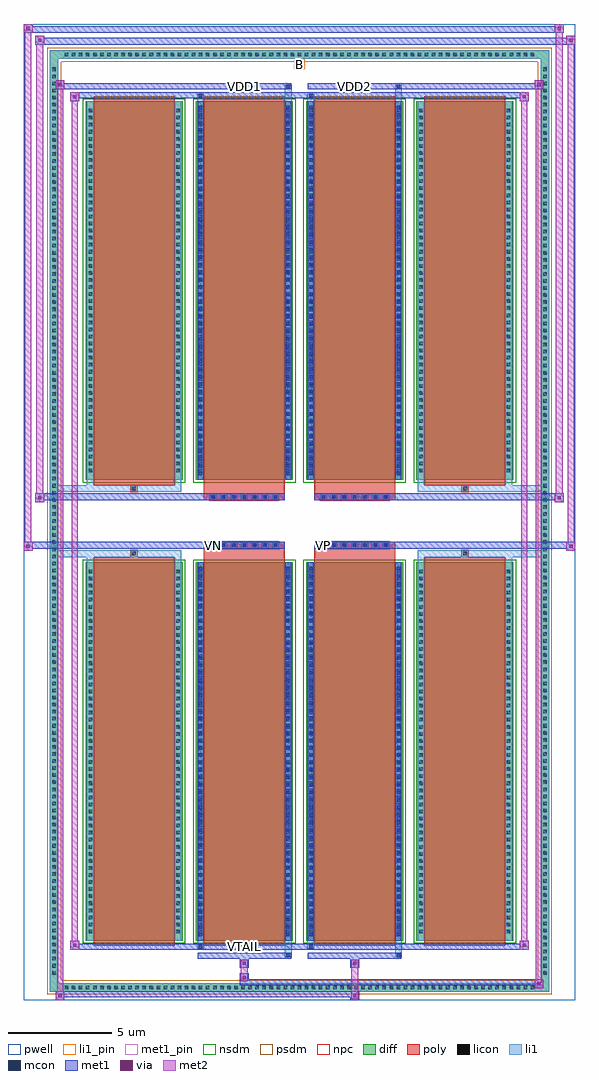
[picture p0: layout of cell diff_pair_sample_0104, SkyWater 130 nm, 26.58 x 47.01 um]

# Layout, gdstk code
import gdstk
lib = gdstk.Library(unit=1e-6, precision=5e-09)
def R(c, l, rs):  # rectangles x0, y0, x1, y1
    for r in rs: c.add(gdstk.rectangle(r[:2], r[2:], *l))
def A(c, l, x, y, w, h, nx, ny, dx, dy):  # array of equal rectangles
    R(c, l, [(x+i*dx, y+j*dy, x+i*dx+w, y+j*dy+h) for i in range(nx) for j in range(ny)])
def P(c, l, *ps):  # polygons
    for p in ps: c.add(gdstk.Polygon(p, *l))
pwell = (64, 44)
diff = (65, 20)
poly = (66, 20)
licon = (66, 44)
li1_pin = (67, 16)
li1 = (67, 20)
mcon = (67, 44)
met1_pin = (68, 16)
met1 = (68, 20)
via = (68, 44)
met2 = (69, 20)
nsdm = (93, 44)
psdm = (94, 20)
npc = (95, 20)

diff_pair_sample_0104 = lib.new_cell('diff_pair_sample_0104')
R(diff_pair_sample_0104, pwell, [(-13.29,-23.07,13.29,23.94), (-10.61,-21.26,-0.01,-0.8), (0.01,-21.26,10.61,-0.8), (-10.61,0.8,-0.01,21.26), (0.01,0.8,10.61,21.26)])
A(diff_pair_sample_0104, diff, -11.425, -22.67, 0.41, 0.41, 67, 2, 0.34, 44.93)
A(diff_pair_sample_0104, diff, -12.02, -21.965, 0.41, 0.41, 1, 129, 0, 0.34)
A(diff_pair_sample_0104, diff, 11.61, -21.965, 0.41, 0.41, 1, 129, 0, 0.34)
A(diff_pair_sample_0104, diff, -10.3, -20.215, 4.67, 18.23, 4, 2, 5.31, 22.2)
R(diff_pair_sample_0104, diff, [(-11.425,-22.67,11.425,-22.26), (-12.02,-21.965,-11.61,21.965), (11.61,-21.965,12.02,21.965), (-11.425,22.26,11.425,22.67)])
P(diff_pair_sample_0104, diff, [(12.02,22.67),(-12.02,22.67),(-12.02,-22.26),(-11.61,-22.26),(-11.61,22.26),(11.61,22.26),(11.61,-22.26),(-11.61,-22.26),(-12.02,-22.26),(-12.02,-22.67),(12.02,-22.67)])
A(diff_pair_sample_0104, poly, -9.91, -20.465, 3.89, 18.73, 4, 2, 5.31, 22.2)
A(diff_pair_sample_0104, poly, -4.32, -1.33, 0.33, 0.33, 7, 2, 0.5, 2.33)
A(diff_pair_sample_0104, poly, 0.99, -1.33, 0.33, 0.33, 7, 2, 0.5, 2.33)
R(diff_pair_sample_0104, poly, [(-8.13,-1.735,-7.8,-1.405), (-8.13,-1.735,-7.8,-1.405), (-4.6,-1.735,-0.71,-1.33), (0.71,-1.735,4.6,-1.33), (7.8,-1.735,8.13,-1.405), (7.8,-1.735,8.13,-1.405), (-4.6,-1.33,-0.71,-1), (0.71,-1.33,4.6,-1), (-4.6,1,-0.71,1.33), (0.71,1,4.6,1.33), (-4.6,1.33,-0.71,1.735), (0.71,1.33,4.6,1.735), (-8.13,1.405,-7.8,1.735), (-8.13,1.405,-7.8,1.735), (7.8,1.405,8.13,1.735), (7.8,1.405,8.13,1.735)])
A(diff_pair_sample_0104, licon, -11.305, -22.55, 0.17, 0.17, 67, 2, 0.34, 44.93)
A(diff_pair_sample_0104, licon, -11.9, -21.845, 0.17, 0.17, 1, 129, 0, 0.34)
A(diff_pair_sample_0104, licon, 11.73, -21.845, 0.17, 0.17, 1, 129, 0, 0.34)
A(diff_pair_sample_0104, licon, -10.16, -19.855, 0.17, 0.17, 1, 52, 0, 0.34)
A(diff_pair_sample_0104, licon, -5.94, -19.855, 0.17, 0.17, 1, 52, 0, 0.34)
A(diff_pair_sample_0104, licon, -4.85, -19.855, 0.17, 0.17, 1, 52, 0, 0.34)
A(diff_pair_sample_0104, licon, -0.63, -19.855, 0.17, 0.17, 1, 52, 0, 0.34)
A(diff_pair_sample_0104, licon, 0.46, -19.855, 0.17, 0.17, 1, 52, 0, 0.34)
A(diff_pair_sample_0104, licon, 4.68, -19.855, 0.17, 0.17, 1, 52, 0, 0.34)
A(diff_pair_sample_0104, licon, 5.77, -19.855, 0.17, 0.17, 1, 52, 0, 0.34)
A(diff_pair_sample_0104, licon, 9.99, -19.855, 0.17, 0.17, 1, 52, 0, 0.34)
A(diff_pair_sample_0104, licon, -4.24, -1.25, 0.17, 0.17, 7, 2, 0.5, 2.33)
A(diff_pair_sample_0104, licon, 1.07, -1.25, 0.17, 0.17, 7, 2, 0.5, 2.33)
A(diff_pair_sample_0104, licon, -10.16, 2.345, 0.17, 0.17, 1, 52, 0, 0.34)
A(diff_pair_sample_0104, licon, -5.94, 2.345, 0.17, 0.17, 1, 52, 0, 0.34)
A(diff_pair_sample_0104, licon, -4.85, 2.345, 0.17, 0.17, 1, 52, 0, 0.34)
A(diff_pair_sample_0104, licon, -0.63, 2.345, 0.17, 0.17, 1, 52, 0, 0.34)
A(diff_pair_sample_0104, licon, 0.46, 2.345, 0.17, 0.17, 1, 52, 0, 0.34)
A(diff_pair_sample_0104, licon, 4.68, 2.345, 0.17, 0.17, 1, 52, 0, 0.34)
A(diff_pair_sample_0104, licon, 5.77, 2.345, 0.17, 0.17, 1, 52, 0, 0.34)
A(diff_pair_sample_0104, licon, 9.99, 2.345, 0.17, 0.17, 1, 52, 0, 0.34)
R(diff_pair_sample_0104, licon, [(-8.05,-1.655,-7.88,-1.485), (7.88,-1.655,8.05,-1.485), (-8.05,1.485,-7.88,1.655), (7.88,1.485,8.05,1.655)])
R(diff_pair_sample_0104, li1_pin, [(-0.25,21.76,0.25,22.26)])
A(diff_pair_sample_0104, li1, -11.385, -22.63, 0.33, 0.33, 67, 2, 0.34, 44.93)
A(diff_pair_sample_0104, li1, -11.98, -21.925, 0.33, 0.33, 1, 129, 0, 0.34)
A(diff_pair_sample_0104, li1, 11.65, -21.925, 0.33, 0.33, 1, 129, 0, 0.34)
A(diff_pair_sample_0104, li1, -4.85, -20.005, 0.17, 0.17, 1, 50, 0, 0.36)
A(diff_pair_sample_0104, li1, -0.63, -20.005, 0.17, 0.17, 1, 50, 0, 0.36)
A(diff_pair_sample_0104, li1, 0.46, -20.005, 0.17, 0.17, 1, 50, 0, 0.36)
A(diff_pair_sample_0104, li1, 4.68, -20.005, 0.17, 0.17, 1, 50, 0, 0.36)
A(diff_pair_sample_0104, li1, -10.24, -19.935, 0.33, 0.33, 1, 52, 0, 0.34)
A(diff_pair_sample_0104, li1, -6.02, -19.935, 0.33, 0.33, 1, 52, 0, 0.34)
A(diff_pair_sample_0104, li1, -4.93, -19.935, 0.33, 0.33, 1, 52, 0, 0.34)
A(diff_pair_sample_0104, li1, -0.71, -19.935, 0.33, 0.33, 1, 52, 0, 0.34)
A(diff_pair_sample_0104, li1, 0.38, -19.935, 0.33, 0.33, 1, 52, 0, 0.34)
A(diff_pair_sample_0104, li1, 4.6, -19.935, 0.33, 0.33, 1, 52, 0, 0.34)
A(diff_pair_sample_0104, li1, 5.69, -19.935, 0.33, 0.33, 1, 52, 0, 0.34)
A(diff_pair_sample_0104, li1, 9.91, -19.935, 0.33, 0.33, 1, 52, 0, 0.34)
A(diff_pair_sample_0104, li1, -4.32, -1.33, 0.33, 0.33, 7, 2, 0.5, 2.33)
A(diff_pair_sample_0104, li1, 0.99, -1.33, 0.33, 0.33, 7, 2, 0.5, 2.33)
A(diff_pair_sample_0104, li1, -4.85, 2.195, 0.17, 0.17, 1, 50, 0, 0.36)
A(diff_pair_sample_0104, li1, -0.63, 2.195, 0.17, 0.17, 1, 50, 0, 0.36)
A(diff_pair_sample_0104, li1, 0.46, 2.195, 0.17, 0.17, 1, 50, 0, 0.36)
A(diff_pair_sample_0104, li1, 4.68, 2.195, 0.17, 0.17, 1, 50, 0, 0.36)
A(diff_pair_sample_0104, li1, -10.24, 2.265, 0.33, 0.33, 1, 52, 0, 0.34)
A(diff_pair_sample_0104, li1, -6.02, 2.265, 0.33, 0.33, 1, 52, 0, 0.34)
A(diff_pair_sample_0104, li1, -4.93, 2.265, 0.33, 0.33, 1, 52, 0, 0.34)
A(diff_pair_sample_0104, li1, -0.71, 2.265, 0.33, 0.33, 1, 52, 0, 0.34)
A(diff_pair_sample_0104, li1, 0.38, 2.265, 0.33, 0.33, 1, 52, 0, 0.34)
A(diff_pair_sample_0104, li1, 4.6, 2.265, 0.33, 0.33, 1, 52, 0, 0.34)
A(diff_pair_sample_0104, li1, 5.69, 2.265, 0.33, 0.33, 1, 52, 0, 0.34)
A(diff_pair_sample_0104, li1, 9.91, 2.265, 0.33, 0.33, 1, 52, 0, 0.34)
R(diff_pair_sample_0104, li1, [(-12.02,-22.67,-11.61,-22.26), (-12.02,-22.67,-11.61,-22.26), (-11.61,-22.67,11.61,-22.26), (11.61,-22.67,12.02,-22.26), (11.61,-22.67,12.02,-22.26), (-12.02,-22.26,-11.61,22.26), (11.61,-22.26,12.02,22.26), (-0.71,-21.02,-0.38,-20.215), (-0.63,-21.02,-0.46,-20.85), (4.6,-21.02,4.93,-20.215), (4.68,-21.02,4.85,-20.85), (-4.93,-20.59,-4.6,-20.215), (-4.85,-20.59,-4.68,-20.42), (0.38,-20.59,0.71,-20.215), (0.46,-20.59,0.63,-20.42), (-10.24,-20.215,-9.91,-1.985), (-6.02,-20.215,-5.69,-1.985), (-4.93,-20.215,-4.6,-1.985), (-0.71,-20.215,-0.38,-1.985), (0.38,-20.215,0.71,-1.985), (4.6,-20.215,4.93,-1.985), (5.69,-20.215,6.02,-1.985), (9.91,-20.215,10.24,-1.985), (-4.85,-20.005,-4.68,-2.195), (-0.63,-20.005,-0.46,-2.195), (0.46,-20.005,0.63,-2.195), (4.68,-20.005,4.85,-2.195), (-10.24,-1.985,-9.91,-1.405), (-6.02,-1.985,-5.69,-1.405), (5.69,-1.985,6.02,-1.405), (9.91,-1.985,10.24,-1.405), (-12.02,-1.735,-8.13,-1.405), (-10.24,-1.735,-8.13,-1.405), (-8.13,-1.735,-7.8,-1.405), (-7.8,-1.735,-5.69,-1.405), (5.69,-1.735,7.8,-1.405), (7.8,-1.735,8.13,-1.405), (7.8,-1.735,12.02,-1.405), (8.13,-1.735,10.24,-1.405), (-12.02,1.405,-8.13,1.735), (-10.24,1.405,-8.13,1.735), (-10.24,1.405,-9.91,1.985), (-8.13,1.405,-7.8,1.735), (-7.8,1.405,-5.69,1.735), (-6.02,1.405,-5.69,1.985), (5.69,1.405,7.8,1.735), (5.69,1.405,6.02,1.985), (7.8,1.405,8.13,1.735), (7.8,1.405,12.02,1.735), (8.13,1.405,10.24,1.735), (9.91,1.405,10.24,1.985), (-10.24,1.985,-9.91,20.215), (-6.02,1.985,-5.69,20.215), (-4.93,1.985,-4.6,20.215), (-0.71,1.985,-0.38,20.215), (0.38,1.985,0.71,20.215), (4.6,1.985,4.93,20.215), (5.69,1.985,6.02,20.215), (9.91,1.985,10.24,20.215), (-4.85,2.195,-4.68,20.005), (-0.63,2.195,-0.46,20.005), (0.46,2.195,0.63,20.005), (4.68,2.195,4.85,20.005), (-4.93,20.215,-4.6,20.59), (-0.71,20.215,-0.38,21.02), (0.38,20.215,0.71,20.59), (4.6,20.215,4.93,21.02), (-4.85,20.42,-4.68,20.59), (0.46,20.42,0.63,20.59), (-0.63,20.85,-0.46,21.02), (4.68,20.85,4.85,21.02), (-12.02,22.26,-11.61,22.67), (-12.02,22.26,-11.61,22.67), (-11.61,22.26,11.61,22.67), (11.61,22.26,12.02,22.67), (11.61,22.26,12.02,22.67)])
A(diff_pair_sample_0104, mcon, -4.85, -20.005, 0.17, 0.17, 1, 50, 0, 0.36)
A(diff_pair_sample_0104, mcon, -0.63, -20.005, 0.17, 0.17, 1, 50, 0, 0.36)
A(diff_pair_sample_0104, mcon, 0.46, -20.005, 0.17, 0.17, 1, 50, 0, 0.36)
A(diff_pair_sample_0104, mcon, 4.68, -20.005, 0.17, 0.17, 1, 50, 0, 0.36)
A(diff_pair_sample_0104, mcon, -4.24, -1.25, 0.17, 0.17, 7, 2, 0.5, 2.33)
A(diff_pair_sample_0104, mcon, 1.07, -1.25, 0.17, 0.17, 7, 2, 0.5, 2.33)
A(diff_pair_sample_0104, mcon, -4.85, 2.195, 0.17, 0.17, 1, 50, 0, 0.36)
A(diff_pair_sample_0104, mcon, -0.63, 2.195, 0.17, 0.17, 1, 50, 0, 0.36)
A(diff_pair_sample_0104, mcon, 0.46, 2.195, 0.17, 0.17, 1, 50, 0, 0.36)
A(diff_pair_sample_0104, mcon, 4.68, 2.195, 0.17, 0.17, 1, 50, 0, 0.36)
R(diff_pair_sample_0104, mcon, [(-0.63,-21.02,-0.46,-20.85), (4.68,-21.02,4.85,-20.85), (-4.85,-20.59,-4.68,-20.42), (0.46,-20.59,0.63,-20.42), (-4.85,20.42,-4.68,20.59), (0.46,20.42,0.63,20.59), (-0.63,20.85,-0.46,21.02), (4.68,20.85,4.85,21.02)])
R(diff_pair_sample_0104, met1_pin, [(-2.79,-20.63,-2.52,-20.36), (-4.29,-1.29,-4.02,-1.02), (1.02,-1.29,1.29,-1.02), (-2.79,20.81,-2.52,21.08), (2.52,20.81,2.79,21.08)])
A(diff_pair_sample_0104, met1, -4.91, -20.065, 0.29, 0.29, 1, 50, 0, 0.36)
A(diff_pair_sample_0104, met1, -0.69, -20.065, 0.29, 0.29, 1, 50, 0, 0.36)
A(diff_pair_sample_0104, met1, 0.4, -20.065, 0.29, 0.29, 1, 50, 0, 0.36)
A(diff_pair_sample_0104, met1, 4.62, -20.065, 0.29, 0.29, 1, 50, 0, 0.36)
A(diff_pair_sample_0104, met1, -4.3, -1.31, 0.29, 0.29, 7, 2, 0.5, 2.33)
A(diff_pair_sample_0104, met1, 1.01, -1.31, 0.29, 0.29, 7, 2, 0.5, 2.33)
A(diff_pair_sample_0104, met1, -4.91, 2.135, 0.29, 0.29, 1, 50, 0, 0.36)
A(diff_pair_sample_0104, met1, -0.69, 2.135, 0.29, 0.29, 1, 50, 0, 0.36)
A(diff_pair_sample_0104, met1, 0.4, 2.135, 0.29, 0.29, 1, 50, 0, 0.36)
A(diff_pair_sample_0104, met1, 4.62, 2.135, 0.29, 0.29, 1, 50, 0, 0.36)
R(diff_pair_sample_0104, met1, [(-11.75,-23.07,-11.32,-22.64), (2.44,-23.07,2.87,-22.64), (-11.75,-22.93,2.87,-22.64), (11.32,-22.5,11.75,-22.07), (-2.87,-22.36,11.75,-22.07), (-2.87,-22.22,-2.44,-21.79), (-2.87,-21.51,-2.44,-21.08), (2.44,-21.51,2.87,-21.08), (-4.91,-21.08,-0.4,-20.79), (-0.69,-21.08,-0.4,-20.79), (0.4,-21.08,4.91,-20.79), (4.62,-21.08,4.91,-20.79), (-11.04,-20.65,-10.61,-20.22), (-11.04,-20.65,-4.91,-20.36), (-4.91,-20.65,-4.62,-20.36), (-4.91,-20.65,-0.4,-20.36), (-0.4,-20.65,0.4,-20.36), (0.4,-20.65,0.69,-20.36), (0.4,-20.65,4.91,-20.36), (4.91,-20.65,11.04,-20.36), (10.61,-20.65,11.04,-20.22), (-4.91,-20.215,-4.62,-1.985), (-0.69,-20.215,-0.4,-1.985), (0.4,-20.215,0.69,-1.985), (4.62,-20.215,4.91,-1.985), (-13.29,-1.43,-12.86,-1), (12.86,-1.43,13.29,-1), (-13.29,-1.33,-0.71,-1), (-4.6,-1.33,-0.71,-1), (0.71,-1.33,4.6,-1), (0.71,-1.33,13.29,-1), (-12.72,0.9,-12.29,1.33), (12.29,0.9,12.72,1.33), (-12.72,1,-4.6,1.33), (-4.6,1,-0.71,1.33), (0.71,1,4.6,1.33), (4.6,1,12.72,1.33), (-4.91,1.985,-4.62,20.215), (-0.69,1.985,-0.4,20.215), (0.4,1.985,0.69,20.215), (4.62,1.985,4.91,20.215), (-11.04,20.22,-10.61,20.65), (10.61,20.22,11.04,20.65), (-11.04,20.36,-4.91,20.65), (-4.91,20.36,-4.62,20.65), (-4.91,20.36,-0.4,20.65), (-0.4,20.36,0.4,20.65), (0.4,20.36,0.69,20.65), (0.4,20.36,4.91,20.65), (4.91,20.36,11.04,20.65), (-11.75,20.79,-11.32,21.22), (-11.75,20.79,-4.91,21.08), (-4.91,20.79,-0.4,21.08), (-0.69,20.79,-0.4,21.08), (0.4,20.79,4.91,21.08), (4.62,20.79,4.91,21.08), (4.91,20.79,11.75,21.08), (11.32,20.79,11.75,21.22), (-12.72,22.94,-12.29,23.37), (-12.72,22.94,-10.61,23.27), (-10.61,22.94,10.61,23.27), (10.61,22.94,13.29,23.27), (12.86,22.94,13.29,23.37), (-13.29,23.51,-12.86,23.94), (-13.29,23.51,-10.61,23.84), (-10.61,23.51,10.61,23.84), (10.61,23.51,12.72,23.84), (12.29,23.51,12.72,23.94)])
R(diff_pair_sample_0104, via, [(-11.61,-22.93,-11.46,-22.78), (2.58,-22.93,2.73,-22.78), (11.46,-22.36,11.61,-22.21), (-2.73,-22.08,-2.58,-21.93), (-2.73,-21.37,-2.58,-21.22), (2.58,-21.37,2.73,-21.22), (-10.9,-20.51,-10.75,-20.36), (10.75,-20.51,10.9,-20.36), (-13.15,-1.29,-13,-1.14), (13,-1.29,13.15,-1.14), (-12.58,1.04,-12.43,1.19), (12.43,1.04,12.58,1.19), (-10.9,20.36,-10.75,20.51), (10.75,20.36,10.9,20.51), (-11.61,20.93,-11.46,21.08), (11.46,20.93,11.61,21.08), (-12.58,23.08,-12.43,23.23), (13,23.08,13.15,23.23), (-13.15,23.65,-13,23.8), (12.43,23.65,12.58,23.8)])
R(diff_pair_sample_0104, met2, [(-11.75,-23.07,-11.32,-22.64), (-11.68,-23.07,-11.39,21.22), (-11.39,-23.07,-11.32,-22.64), (-11.7,-23.02,-11.37,-22.69), (2.49,-23.02,2.82,-22.69), (2.49,-22.69,2.82,-21.46), (11.32,-22.5,11.75,-22.07), (11.39,-22.5,11.68,21.22), (11.68,-22.5,11.75,-22.07), (11.37,-22.45,11.7,-22.12), (-2.82,-22.17,-2.49,-21.84), (-2.82,-21.84,-2.49,-21.46), (-2.82,-21.46,-2.49,-21.13), (2.49,-21.46,2.82,-21.13), (-11.04,-20.65,-10.61,-20.22), (-10.97,-20.65,-10.68,20.65), (-10.68,-20.65,-10.61,-20.22), (10.61,-20.65,11.04,-20.22), (10.68,-20.65,10.97,20.65), (10.97,-20.65,11.04,-20.22), (-10.99,-20.6,-10.66,-20.27), (10.66,-20.6,10.99,-20.27), (-13.29,-1.43,-12.86,-1), (-13.24,-1.43,-12.91,23.94), (-12.91,-1.43,-12.86,-1), (12.86,-1.43,13.29,-1), (12.91,-1.43,13.24,23.37), (13.24,-1.43,13.29,-1), (-13.24,-1.38,-12.91,-1.05), (12.91,-1.38,13.24,-1.05), (-12.72,0.9,-12.29,1.33), (-12.67,0.9,-12.34,23.37), (-12.34,0.9,-12.29,1.33), (12.29,0.9,12.72,1.33), (12.34,0.9,12.67,23.94), (12.67,0.9,12.72,1.33), (-12.67,0.95,-12.34,1.28), (12.34,0.95,12.67,1.28), (-11.04,20.22,-10.61,20.65), (-10.68,20.22,-10.61,20.65), (10.61,20.22,11.04,20.65), (10.97,20.22,11.04,20.65), (-10.99,20.27,-10.66,20.6), (10.66,20.27,10.99,20.6), (-11.75,20.79,-11.32,21.22), (-11.39,20.79,-11.32,21.22), (11.32,20.79,11.75,21.22), (11.68,20.79,11.75,21.22), (-11.7,20.84,-11.37,21.17), (11.37,20.84,11.7,21.17), (-12.72,22.94,-12.29,23.37), (-12.34,22.94,-12.29,23.37), (12.86,22.94,13.29,23.37), (13.24,22.94,13.29,23.37), (-12.67,22.99,-12.34,23.32), (12.91,22.99,13.24,23.32), (-13.29,23.51,-12.86,23.94), (-12.91,23.51,-12.86,23.94), (12.29,23.51,12.72,23.94), (12.67,23.51,12.72,23.94), (-13.24,23.56,-12.91,23.89), (12.34,23.56,12.67,23.89)])
A(diff_pair_sample_0104, nsdm, -10.43, -20.345, 4.93, 18.49, 4, 2, 5.31, 22.2)
P(diff_pair_sample_0104, psdm, [(12.15,22.8),(-12.15,22.8),(-12.15,-22.13),(-11.48,-22.13),(-11.48,22.13),(11.48,22.13),(11.48,-22.13),(-11.48,-22.13),(-12.15,-22.13),(-12.15,-22.8),(12.15,-22.8)])
A(diff_pair_sample_0104, npc, -4.34, -1.35, 0.37, 0.37, 7, 2, 0.5, 2.33)
A(diff_pair_sample_0104, npc, 0.97, -1.35, 0.37, 0.37, 7, 2, 0.5, 2.33)
R(diff_pair_sample_0104, npc, [(-8.15,-1.755,-7.78,-1.385), (7.78,-1.755,8.15,-1.385), (-4.34,-1.35,-3.47,-0.98), (-4.34,-1.35,-3.47,-0.98), (-3.84,-1.35,-2.97,-0.98), (-3.84,-1.35,-2.97,-0.98), (-3.34,-1.35,-2.47,-0.98), (-3.34,-1.35,-2.47,-0.98), (-2.84,-1.35,-1.97,-0.98), (-2.84,-1.35,-1.97,-0.98), (-2.34,-1.35,-1.47,-0.98), (-2.34,-1.35,-1.47,-0.98), (-1.84,-1.35,-0.97,-0.98), (-1.84,-1.35,-0.97,-0.98), (0.97,-1.35,1.84,-0.98), (0.97,-1.35,1.84,-0.98), (1.47,-1.35,2.34,-0.98), (1.47,-1.35,2.34,-0.98), (1.97,-1.35,2.84,-0.98), (1.97,-1.35,2.84,-0.98), (2.47,-1.35,3.34,-0.98), (2.47,-1.35,3.34,-0.98), (2.97,-1.35,3.84,-0.98), (2.97,-1.35,3.84,-0.98), (3.47,-1.35,4.34,-0.98), (3.47,-1.35,4.34,-0.98), (-4.34,0.98,-3.47,1.35), (-4.34,0.98,-3.47,1.35), (-3.84,0.98,-2.97,1.35), (-3.84,0.98,-2.97,1.35), (-3.34,0.98,-2.47,1.35), (-3.34,0.98,-2.47,1.35), (-2.84,0.98,-1.97,1.35), (-2.84,0.98,-1.97,1.35), (-2.34,0.98,-1.47,1.35), (-2.34,0.98,-1.47,1.35), (-1.84,0.98,-0.97,1.35), (-1.84,0.98,-0.97,1.35), (0.97,0.98,1.84,1.35), (0.97,0.98,1.84,1.35), (1.47,0.98,2.34,1.35), (1.47,0.98,2.34,1.35), (1.97,0.98,2.84,1.35), (1.97,0.98,2.84,1.35), (2.47,0.98,3.34,1.35), (2.47,0.98,3.34,1.35), (2.97,0.98,3.84,1.35), (2.97,0.98,3.84,1.35), (3.47,0.98,4.34,1.35), (3.47,0.98,4.34,1.35), (-8.15,1.385,-7.78,1.755), (7.78,1.385,8.15,1.755)])
diff_pair_sample_0104.add(gdstk.Label('VTAIL', (-2.655,-20.495), layer=68, texttype=5))
diff_pair_sample_0104.add(gdstk.Label('VN', (-4.155,-1.155), layer=68, texttype=5))
diff_pair_sample_0104.add(gdstk.Label('VP', (1.155,-1.155), layer=68, texttype=5))
diff_pair_sample_0104.add(gdstk.Label('B', (0,22.01), layer=67, texttype=5))
diff_pair_sample_0104.add(gdstk.Label('VDD2', (2.655,20.945), layer=68, texttype=5))
diff_pair_sample_0104.add(gdstk.Label('VDD1', (-2.655,20.945), layer=68, texttype=5))

lib.write_gds('diff_pair_sample_0104.gds')
